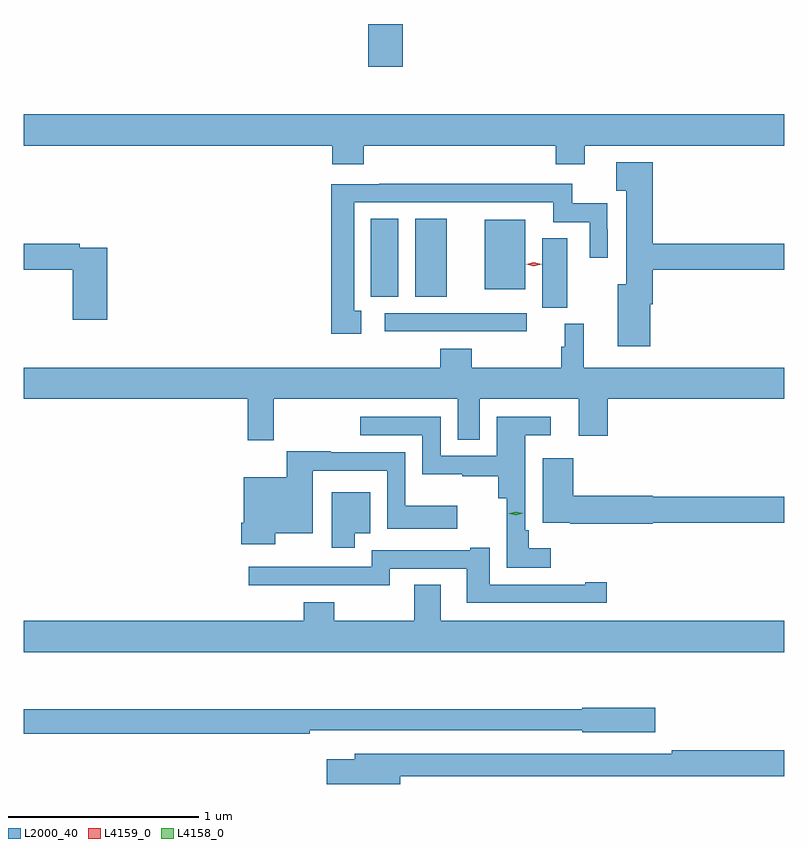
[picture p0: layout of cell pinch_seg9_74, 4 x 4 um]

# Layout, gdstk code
import gdstk
lib = gdstk.Library(unit=1e-6, precision=1e-09)
def R(c, l, rs):  # rectangles x0, y0, x1, y1
    for r in rs: c.add(gdstk.rectangle(r[:2], r[2:], *l))
def P(c, l, *ps):  # polygons
    for p in ps: c.add(gdstk.Polygon(p, *l))
L2000_40 = (2000, 40)
L4158_0 = (4158, 0)
L4159_0 = (4159, 0)

pinch_seg9_74 = lib.new_cell('pinch_seg9_74')
R(pinch_seg9_74, L2000_40, [(923.106,1178.127,923.854,1178.223), (923.933,1178.251,924.067,1178.617), (923.033,1178.308,923.176,1178.72), (923.267,1178.31,923.431,1178.72), (923.633,1178.348,923.845,1178.713), (923.018,1179.519,923.201,1179.744)])
P(pinch_seg9_74, L2000_40, [(921.207,1179.104),(922.829,1179.104),(922.829,1179.005),(922.994,1179.005),(922.994,1179.104),(924.005,1179.104),(924.005,1179.005),(924.157,1179.005),(924.157,1179.104),(925.207,1179.104),(925.207,1179.268),(921.207,1179.268)],
  [(924.502,1178.27),(924.515,1178.27),(924.515,1178.452),(925.207,1178.452),(925.207,1178.588),(924.515,1178.588),(924.515,1179.016),(924.324,1179.016),(924.324,1178.868),(924.377,1178.868),(924.377,1178.374),(924.332,1178.374),(924.332,1178.048),(924.502,1178.048)],
  [(922.981,1178.235),(922.945,1178.235),(922.945,1178.805),(923.993,1178.805),(923.993,1178.702),(924.183,1178.702),(924.183,1178.514),(924.279,1178.514),(924.279,1178.664),(924.276,1178.664),(924.276,1178.802),(924.093,1178.802),(924.093,1178.903),(923.077,1178.903),(923.077,1178.901),(922.824,1178.901),(922.824,1178.115),(922.981,1178.115)],
  [(921.647,1178.568),(921.5,1178.568),(921.5,1178.588),(921.207,1178.588),(921.207,1178.452),(921.464,1178.452),(921.464,1178.187),(921.647,1178.187)],
  [(922.521,1177.772),(923.489,1177.772),(923.489,1177.558),(923.605,1177.558),(923.605,1177.772),(924.125,1177.772),(924.125,1177.578),(924.278,1177.578),(924.278,1177.772),(925.207,1177.772),(925.207,1177.936),(924.152,1177.936),(924.152,1178.166),(924.053,1178.166),(924.053,1178.045),(924.034,1178.045),(924.034,1177.936),(923.564,1177.936),(923.564,1178.035),(923.399,1178.035),(923.399,1177.936),(921.207,1177.936),(921.207,1177.772),(922.385,1177.772),(922.385,1177.554),(922.521,1177.554)],
  [(923.98,1176.985),(923.864,1176.985),(923.864,1177.081),(923.844,1177.081),(923.844,1177.38),(923.845,1177.38),(923.845,1177.581),(923.98,1177.581),(923.98,1177.677),(923.696,1177.677),(923.696,1177.473),(923.4,1177.473),(923.4,1177.677),(922.977,1177.677),(922.977,1177.581),(923.304,1177.581),(923.304,1177.376),(923.513,1177.376),(923.513,1177.365),(923.702,1177.365),(923.702,1177.25),(923.748,1177.25),(923.748,1176.884),(923.98,1176.884)],
  [(922.53,1177.064),(922.726,1177.064),(922.726,1177.395),(923.118,1177.395),(923.118,1177.088),(923.488,1177.088),(923.488,1177.21),(923.214,1177.21),(923.214,1177.491),(922.822,1177.491),(922.822,1177.496),(922.589,1177.496),(922.589,1177.36),(922.364,1177.36),(922.364,1177.12),(922.352,1177.12),(922.352,1177.008),(922.53,1177.008)],
  [(924.516,1177.12),(925.207,1177.12),(925.207,1177.256),(924.516,1177.256),(924.516,1177.262),(924.098,1177.262),(924.098,1177.459),(923.936,1177.459),(923.936,1177.121),(924.081,1177.121),(924.081,1177.115),(924.516,1177.115)],
  [(922.948,1177.064),(923.029,1177.064),(923.029,1177.282),(922.826,1177.282),(922.826,1176.99),(922.948,1176.99)],
  [(924.274,1176.808),(924.161,1176.808),(924.161,1176.795),(923.659,1176.795),(923.659,1176.988),(923.555,1176.988),(923.555,1176.975),(923.037,1176.975),(923.037,1176.888),(922.389,1176.888),(922.389,1176.792),(922.927,1176.792),(922.927,1176.791),(923.133,1176.791),(923.133,1176.879),(923.537,1176.879),(923.537,1176.699),(924.274,1176.699)],
  [(925.207,1176.604),(923.401,1176.604),(923.401,1176.794),(923.261,1176.794),(923.261,1176.604),(922.839,1176.604),(922.839,1176.703),(922.679,1176.703),(922.679,1176.604),(921.207,1176.604),(921.207,1176.44),(925.207,1176.44)],
  [(922.712,1176.03),(924.144,1176.03),(924.144,1176.017),(924.529,1176.017),(924.529,1176.147),(924.144,1176.147),(924.144,1176.139),(921.207,1176.139),(921.207,1176.01),(922.712,1176.01)],
  [(923.188,1175.788),(925.207,1175.788),(925.207,1175.924),(924.616,1175.924),(924.616,1175.904),(922.949,1175.904),(922.949,1175.875),(922.8,1175.875),(922.8,1175.746),(923.188,1175.746)])
P(pinch_seg9_74, L4158_0, [(923.797,1177.159),(923.761,1177.168),(923.761,1177.169),(923.761,1177.169),(923.797,1177.179),(923.833,1177.17),(923.833,1177.17),(923.833,1177.17)])
P(pinch_seg9_74, L4159_0, [(923.89,1178.47),(923.85,1178.481),(923.85,1178.481),(923.85,1178.481),(923.89,1178.49),(923.931,1178.48),(923.931,1178.48),(923.931,1178.48)])

lib.write_gds('pinch_seg9_74.gds')
